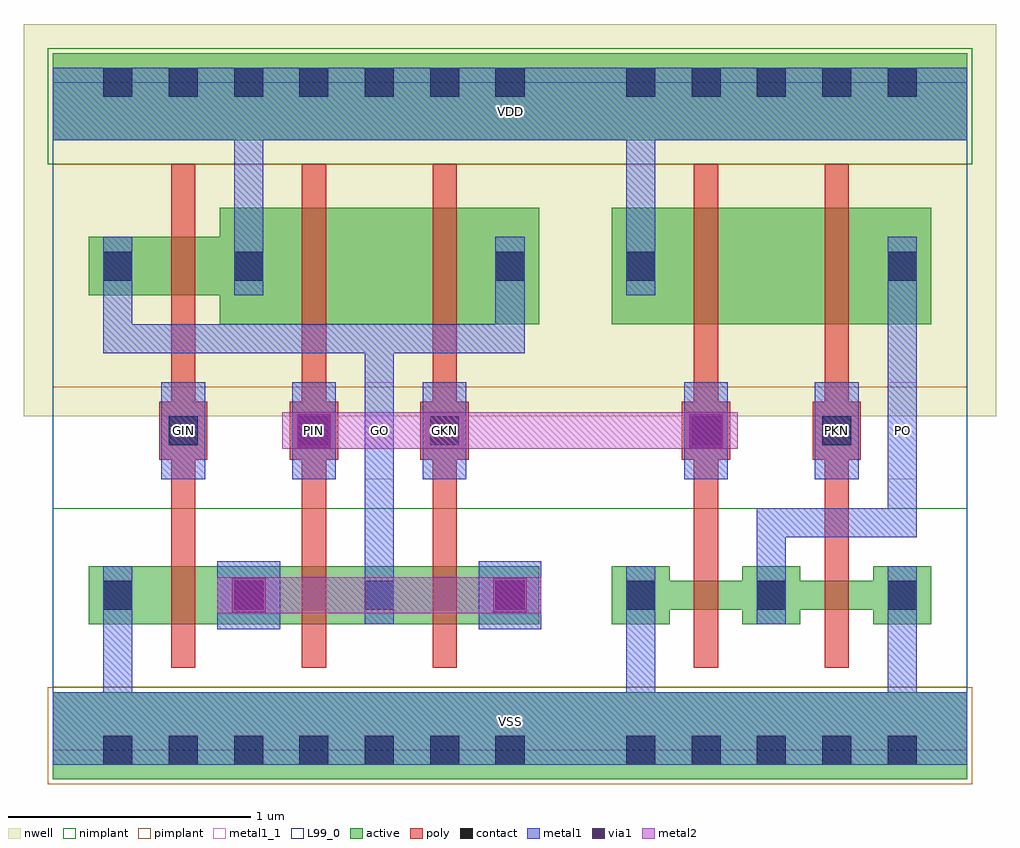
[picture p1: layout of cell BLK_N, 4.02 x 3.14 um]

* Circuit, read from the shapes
.subckt BLK_N GIN GKN GO PIN PKN PO VDD VSS
M1 n1 GIN VSS VSS nfet w=0.24u l=0.1u
M2 GO PIN n1 VSS nfet w=0.24u l=0.1u
M3 n1 GKN GO VSS nfet w=0.24u l=0.1u
M4 PO PIN VSS VSS nfet w=0.12u l=0.1u
M5 VSS PKN PO VSS nfet w=0.12u l=0.1u
M6 VDD GIN GO VDD pfet w=0.24u l=0.1u
M7 n2 PIN VDD VDD pfet w=0.48u l=0.1u
M8 GO GKN n2 VDD pfet w=0.48u l=0.1u
M9 n3 PIN VDD VDD pfet w=0.48u l=0.1u
M10 PO PKN n3 VDD pfet w=0.48u l=0.1u
.ends

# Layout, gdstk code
import gdstk
lib = gdstk.Library(unit=1e-6, precision=5e-10)
def R(c, l, rs):  # rectangles x0, y0, x1, y1
    for r in rs: c.add(gdstk.rectangle(r[:2], r[2:], *l))
def A(c, l, x, y, w, h, nx, ny, dx, dy):  # array of equal rectangles
    R(c, l, [(x+i*dx, y+j*dy, x+i*dx+w, y+j*dy+h) for i in range(nx) for j in range(ny)])
active = (1, 0)
nwell = (2, 0)
poly = (3, 0)
nimplant = (4, 0)
pimplant = (5, 0)
contact = (6, 0)
metal1 = (7, 0)
metal1_1 = (7, 1)
via1 = (8, 0)
metal2 = (9, 0)
L99_0 = (99, 0)

oai21_x1 = lib.new_cell('OAI21_X1')
A(oai21_x1, active, 0.15, 0.52, 0.24, 0.24, 4, 1, 0.54, 0)
A(oai21_x1, active, 0.39, 0.52, 0.3, 0.24, 3, 1, 0.54, 0)
A(oai21_x1, active, 0.69, 1.76, 0.24, 0.48, 3, 1, 0.54, 0)
R(oai21_x1, active, [(0,-0.12,2.16,0.24), (0.93,1.76,1.23,2.24), (1.47,1.76,1.77,2.24), (0.15,1.88,0.39,2.12), (0.39,1.88,0.69,2.12), (0,2.52,2.16,2.88)])
R(oai21_x1, nwell, [(-0.12,1.38,2.28,3)])
A(oai21_x1, poly, 0.49, 0.34, 0.1, 2.08, 3, 1, 0.54, 0)
A(oai21_x1, poly, 0.44, 1.2, 0.2, 0.24, 3, 1, 0.54, 0)
R(oai21_x1, nimplant, [(0,0.26,2.16,1), (-0.02,2.42,2.18,2.9)])
R(oai21_x1, pimplant, [(-0.02,-0.14,2.18,0.26), (0,1.5,2.16,2.42)])
A(oai21_x1, contact, 0.21, -0.06, 0.12, 0.12, 7, 2, 0.27, 2.76)
A(oai21_x1, contact, 0.21, 0.58, 0.12, 0.12, 4, 1, 0.54, 0)
A(oai21_x1, contact, 0.48, 1.26, 0.12, 0.12, 3, 1, 0.54, 0)
R(oai21_x1, contact, [(0.21,1.94,0.33,2.06), (0.75,1.94,0.87,2.06), (1.83,1.94,1.95,2.06)])
A(oai21_x1, metal1, 0.21, 0.52, 0.12, 0.24, 4, 1, 0.54, 0)
A(oai21_x1, metal1, 0.45, 1.12, 0.18, 0.4, 3, 1, 0.54, 0)
R(oai21_x1, metal1, [(0,-0.06,2.16,0.24), (0.21,0.06,0.33,0.7), (0.68,0.5,0.94,0.78), (1.76,0.5,2.02,0.78), (1.29,0.58,1.41,1.76), (0.21,1.64,0.33,2.06), (0.21,1.64,1.95,1.76), (1.83,1.64,1.95,2.06), (0.21,1.88,0.33,2.12), (0.75,1.88,0.87,2.12), (1.83,1.88,1.95,2.12), (0.75,1.94,0.87,2.7), (0,2.52,2.16,2.82)])
A(oai21_x1, metal1_1, 0.45, 1.12, 0.18, 0.4, 3, 1, 0.54, 0)
R(oai21_x1, metal1_1, [(0,0,2.16,0.24), (1.29,1.12,1.41,1.52), (0,2.52,2.16,2.76)])
R(oai21_x1, via1, [(0.74,0.57,0.88,0.71), (1.82,0.57,1.96,0.71)])
R(oai21_x1, metal2, [(0.68,0.565,2.02,0.715)])
R(oai21_x1, L99_0, [(0,0,2.16,2.76)])
oai21_x1.add(gdstk.Label('Y', (1.35,1.32), layer=7, texttype=3))
oai21_x1.add(gdstk.Label('A2', (1.62,1.32), layer=7, texttype=3))
oai21_x1.add(gdstk.Label('A1', (1.08,1.32), layer=7, texttype=3))
oai21_x1.add(gdstk.Label('B', (0.54,1.32), layer=7, texttype=3))
oai21_x1.add(gdstk.Label('VDD', (1.08,2.64), layer=7, texttype=3))
oai21_x1.add(gdstk.Label('VSS', (1.08,0.12), layer=7, texttype=3))

nor2_x1 = lib.new_cell('NOR2_X1')
A(nor2_x1, active, 0.15, 0.52, 0.24, 0.24, 3, 1, 0.54, 0)
A(nor2_x1, active, 0.15, 1.76, 0.24, 0.48, 3, 1, 0.54, 0)
R(nor2_x1, active, [(0,-0.12,1.62,0.24), (0.39,0.58,0.69,0.7), (0.93,0.58,1.23,0.7), (0.39,1.76,0.69,2.24), (0.93,1.76,1.23,2.24), (0,2.52,1.62,2.88)])
R(nor2_x1, nwell, [(-0.12,1.38,1.74,3)])
R(nor2_x1, poly, [(0.49,0.34,0.59,2.42), (1.03,0.34,1.13,2.42), (0.44,1.2,0.64,1.44), (0.98,1.2,1.18,1.44)])
R(nor2_x1, nimplant, [(0,0.26,1.62,1), (-0.02,2.42,1.64,2.9)])
R(nor2_x1, pimplant, [(-0.02,-0.14,1.64,0.26), (0,1.5,1.62,2.42)])
A(nor2_x1, contact, 0.21, -0.06, 0.12, 0.12, 5, 2, 0.27, 2.76)
A(nor2_x1, contact, 0.21, 0.58, 0.12, 0.12, 3, 1, 0.54, 0)
R(nor2_x1, contact, [(0.48,1.26,0.6,1.38), (1.02,1.26,1.14,1.38), (0.21,1.94,0.33,2.06), (1.29,1.94,1.41,2.06)])
A(nor2_x1, metal1, 0.21, 0.52, 0.12, 0.24, 3, 1, 0.54, 0)
R(nor2_x1, metal1, [(0,-0.06,1.62,0.24), (0.21,0.06,0.33,0.7), (1.29,0.06,1.41,0.7), (0.75,0.58,0.87,1), (0.75,0.88,1.41,1), (1.29,0.88,1.41,2.06), (0.45,1.12,0.63,1.52), (0.99,1.12,1.17,1.52), (0.21,1.88,0.33,2.12), (1.29,1.88,1.41,2.12), (0.21,1.94,0.33,2.7), (0,2.52,1.62,2.82)])
R(nor2_x1, metal1_1, [(0,0,1.62,0.24), (0.45,1.12,0.63,1.52), (0.99,1.12,1.17,1.52), (1.29,1.12,1.41,1.52), (0,2.52,1.62,2.76)])
R(nor2_x1, L99_0, [(0,0,1.62,2.76)])
nor2_x1.add(gdstk.Label('Y', (1.35,1.32), layer=7, texttype=3))
nor2_x1.add(gdstk.Label('B', (1.08,1.32), layer=7, texttype=3))
nor2_x1.add(gdstk.Label('A', (0.54,1.32), layer=7, texttype=3))
nor2_x1.add(gdstk.Label('VDD', (0.81,2.64), layer=7, texttype=3))
nor2_x1.add(gdstk.Label('VSS', (0.81,0.12), layer=7, texttype=3))

blk_n = lib.new_cell('BLK_N')
A(blk_n, metal1_1, 0.45, 1.12, 0.18, 0.4, 3, 1, 0.54, 0)
R(blk_n, metal1_1, [(0,0,3.78,0.24), (1.29,1.12,1.41,1.52), (3.15,1.12,3.33,1.52), (3.45,1.12,3.57,1.52), (0,2.52,3.78,2.76)])
R(blk_n, via1, [(1.01,1.25,1.15,1.39), (2.63,1.25,2.77,1.39)])
R(blk_n, metal2, [(0.95,1.245,2.83,1.395)])
R(blk_n, L99_0, [(0,0,3.78,2.76)])
blk_n.add(gdstk.Reference(oai21_x1, (0,0)))
blk_n.add(gdstk.Reference(nor2_x1, (2.16,0)))
blk_n.add(gdstk.Label('VDD', (1.89,2.64), layer=7, texttype=3))
blk_n.add(gdstk.Label('VSS', (1.89,0.12), layer=7, texttype=3))
blk_n.add(gdstk.Label('PO', (3.51,1.32), layer=7, texttype=3))
blk_n.add(gdstk.Label('GO', (1.35,1.32), layer=7, texttype=3))
blk_n.add(gdstk.Label('PKN', (3.24,1.32), layer=7, texttype=3))
blk_n.add(gdstk.Label('GKN', (1.62,1.32), layer=7, texttype=3))
blk_n.add(gdstk.Label('PIN', (1.08,1.32), layer=7, texttype=3))
blk_n.add(gdstk.Label('GIN', (0.54,1.32), layer=7, texttype=3))

lib.write_gds('BLK_N.gds')
